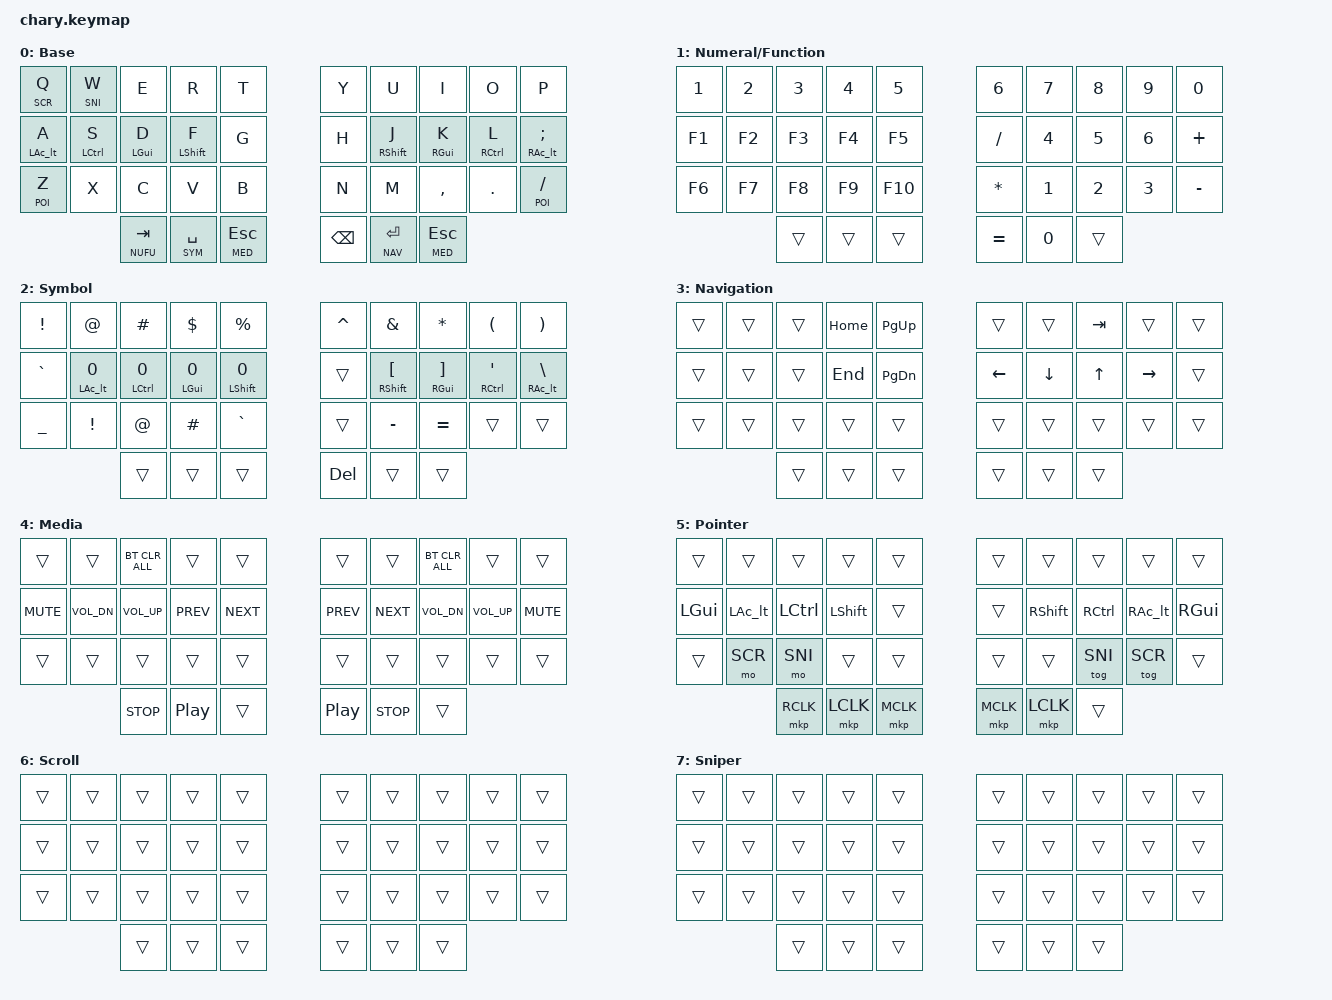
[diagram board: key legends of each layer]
#include <dt-bindings/zmk/mouse.h>
#include <behaviors/mouse_keys.dtsi>
#include <behaviors.dtsi>
#include <dt-bindings/zmk/bt.h>
#include <dt-bindings/zmk/keys.h>

/*
 * Copyright (c) 2022 The ZMK Contributors
 *
 * SPDX-License-Identifier: MIT
 */

#include <behaviors.dtsi>
#include <dt-bindings/zmk/outputs.h>
#include <dt-bindings/zmk/ext_power.h>

// C Macros
#define C_HM_L(k1, k2, k3, k4) &c_hm_l LGUI k1  &c_hm_l LALT k2  &c_hm_l LCTRL k3  &c_hm_l LSHIFT k4
#define C_HM_R(k1, k2, k3, k4) &c_hm_r RSHIFT k1  &c_hm_r RCTRL k2  &c_hm_r RALT k3  &c_hm_r RGUI k4
#define C_LT(l1, k1) &c_lt l1 k1

#define BASE 0
#define NUFU 1
#define SYM 2
#define NAV 3
#define MED 4
#define POI 5
#define SCR 6
#define SNI 7

// &sl {
//   release-after-ms = <250>;
// };

// &mt {
//     tapping-term-ms = <200>;
//     require-prior-idle-ms = <150>;
// };

/ {
      behaviors {
        c_hm_l: homerow_left_mod {
            compatible = "zmk,behavior-hold-tap";
            quick-tap-ms = <150>; // tap held if same key is pressed twice within that time
            tapping-term-ms = <250>;
            require-prior-idle-ms = <150>; // tap if prev non modifier key was pressed within that time
            flavor = "balanced"; // hold if another key is both pressed and released within the tapping term
            #binding-cells = <2>;
            bindings = <&kp>, <&kp>;
            hold-trigger-key-positions = <KEYS_R KEYS_T>;
            hold-trigger-on-release; // delay positional check until key-release
        };

        c_hm_r: homerow_right_mod {
            compatible = "zmk,behavior-hold-tap";
            quick-tap-ms = <150>; // tap held if same key is pressed twice within that time
            tapping-term-ms = <250>;
            require-prior-idle-ms = <150>; // tap if prev non modifier key was pressed within that time
            flavor = "balanced"; // hold if another key is both pressed and released within the tapping term
            #binding-cells = <2>;
            bindings = <&kp>, <&kp>;
            hold-trigger-key-positions = <KEYS_L KEYS_T>;
            hold-trigger-on-release; // delay positional check until key-release
        };

        c_lt: layer_tab {
            compatible = "zmk,behavior-hold-tap";
            quick-tap-ms = <150>; // tap held if same key is pressed twice within that time
            tapping-term-ms = <125>; // tap if key was pressed within that time
            flavor = "hold-preferred";
            #binding-cells = <2>;
            bindings = <&mo>, <&kp>;
        };
    };
    keymap {
        compatible = "zmk,keymap";
        Base {
            label = "Base";
            bindings = <
              &c_lt SCR Q  &c_lt SNI W  &kp E  &kp R  &kp T                 &kp Y  &kp U  &kp I  &kp O  &kp P  
              &c_hm_l LAc_lt A  &c_hm_l LCTRL S  &c_hm_l LGUI D &c_hm_l LSHFT F       &kp G &kp H  &c_hm_r RSHFT J  &c_hm_r RGUI K  &c_hm_r RCTRL L  &c_hm_r RAc_lt SEMICOLON  
              &c_lt POI Z  &kp X  &kp C  &kp V  &kp B                     &kp N  &kp M  &kp COMMA  &kp DOT  &c_lt POI SLASH
                &c_lt NUFU TAB  &c_lt SYM SPACE &c_lt MED ESC                 &kp BACKSPACE &c_lt NAV ENTER &c_lt MED ESC
            >;
        };

         NuFu {
            label = "Numeral/Function";
            bindings = <
                &kp N1  &kp N2  &kp N3  &kp N4 &kp N5        &kp N6  &kp N7  &kp N8  &kp N9  &kp N0
                &kp F1  &kp F2  &kp F3  &kp F4 &kp F5        &kp SLASH  &kp N4  &kp N5  &kp N6  &kp PLUS
                &kp F6  &kp F7  &kp F8  &kp F9 &kp F10        &kp ASTRK  &kp N1  &kp N2  &kp N3  &kp MINUS
                                &trans  &trans  &trans        &kp EQUAL &kp N0 &trans
            >;
        };

        Symbol {
            label = "Symbol";
            bindings = <
              &kp EXCL &kp AT  &kp HASH   &kp DLLR    &kp PRCNT        &kp CARET  &kp AMPS  &kp ASTRK  &kp LPAR  &kp RPAR
              &kp GRAVE &c_hm_l LAc_lt 0 &c_hm_l LCTRL 0  &c_hm_l LGUI 0 &c_hm_l LSHFT 0                  &trans &c_hm_r RSHFT LBKT  &c_hm_r RGUI RBKT  &c_hm_r RCTRL APOS &c_hm_r RAc_lt BSLH
              &kp UNDER &kp EXCL  &kp AT     &kp HASH  &kp GRAVE       &trans &kp MINUS &kp EQUAL &trans  &trans
                                  &trans     &trans    &trans          &kp DELETE &trans &trans
            >;
        };

        Navigation {
            label = "Navigation";
            bindings = <
                         &trans  &trans  &trans  &kp HOME  &kp PAGE_UP         &trans    &trans         &kp TAB      &trans    &trans
                         &trans  &trans  &trans  &kp END  &kp PAGE_DOWN         &kp LEFT  &kp DOWN       &kp UP       &kp RIGHT &trans
                         &trans  &trans  &trans  &trans  &trans         &trans   &trans    &trans         &trans       &trans 
                                         &trans  &trans  &trans         &trans    &trans &trans
            >;
        };

        Media {
            label = "Media";
            bindings = <
              &trans     &trans        &bt BT_CLR_ALL &trans       &trans            &trans      &trans        &bt BT_CLR_ALL  &trans        &trans
              &kp C_MUTE &kp C_VOL_DN  &kp C_VOL_UP     &kp C_PREV &kp C_NEXT        &kp C_PREV  &kp C_NEXT  &kp C_VOL_DN      &kp C_VOL_UP  &kp C_MUTE
              &trans     &trans        &trans         &trans       &trans            &trans      &trans        &trans          &trans        &trans
                                       &kp C_STOP    &kp C_PLAY_PAUSE  &trans        &kp C_PLAY_PAUSE  &kp C_STOP &trans
            >;
        };

        Pointer {
            label = "Pointer";
            bindings = <
              &trans       &trans       &trans        &trans        &trans               &trans &trans        &trans        &trans       &trans
              &kp LGUI     &kp LAc_lt     &kp LCTRL     &kp LSHFT     &trans               &trans &kp RSHFT     &kp RCTRL     &kp RAc_lt     &kp RGUI
              &trans       &mo SCR      &mo SNI       &trans        &trans               &trans &trans        &tog SNI      &tog SCR     &trans
                                            &mkp RCLK  &mkp LCLK  &mkp MCLK         &mkp MCLK  &mkp LCLK &trans
            >;
        };

        Scroll {
            label = "Scroll";
            bindings = <
                &trans  &trans  &trans  &trans  &trans    &trans  &trans  &trans  &trans  &trans
                &trans  &trans  &trans  &trans  &trans    &trans  &trans  &trans  &trans  &trans
                &trans  &trans  &trans  &trans  &trans    &trans  &trans  &trans  &trans  &trans
                                &trans  &trans  &trans    &trans  &trans  &trans
            >;
        };

        Sniper {
            label = "Sniper";
            bindings = <
                &trans  &trans  &trans  &trans  &trans    &trans  &trans  &trans  &trans  &trans
                &trans  &trans  &trans  &trans  &trans    &trans  &trans  &trans  &trans  &trans
                &trans  &trans  &trans  &trans  &trans    &trans  &trans  &trans  &trans  &trans
                                &trans  &trans  &trans    &trans  &trans  &trans
            >;
        };

    };
};
